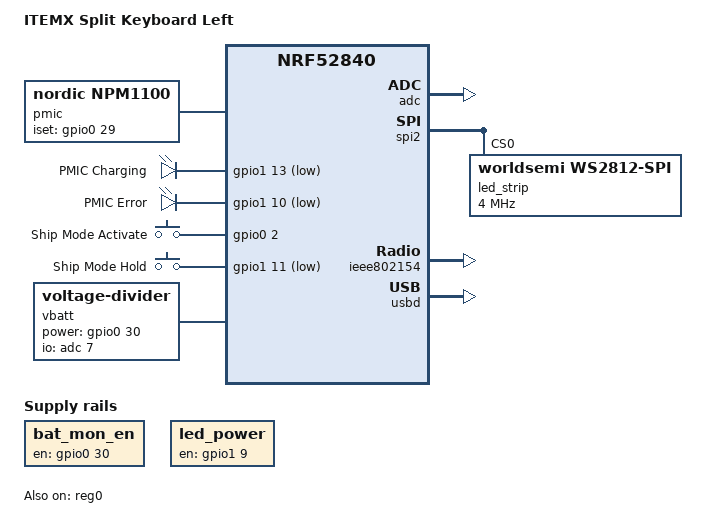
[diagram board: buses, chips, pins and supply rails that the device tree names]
/*
 * SPDX-License-Identifier: Apache-2.0
 *
 * ITEMX — Split ergonomic keyboard, left half (master)
 * MCU: nRF52840-QIAA
 * PMIC: nPM1100
 */

/dts-v1/;
#include <nordic/nrf52840_qiaa.dtsi>
#include <nordic/nrf52840_partition.dtsi>
#include "itemx_nrf52840-pinctrl.dtsi"
#include <zephyr/dt-bindings/regulator/npm1100.h>
#include <zephyr/dt-bindings/led/led.h>

/ {
	model = "ITEMX Split Keyboard Left";
	compatible = "itemx,nrf52840";

	chosen {
		zephyr,sram = &sram0;
		zephyr,flash = &flash0;
		zephyr,code-partition = &slot0_partition;
		zephyr,ieee802154 = &ieee802154;
	};

	/* ── nPM1100 PMIC ────────────────────────────────────── */
	pmic: pmic {
		compatible = "nordic,npm1100";

		/* ISET: P0.29 — USB current limit (low=100mA, high=500mA) */
		nordic,iset-gpios = <&gpio0 29 GPIO_ACTIVE_HIGH>;

		BUCK {
			regulator-initial-mode = <NPM1100_MODE_AUTO>;
			/* MODE: P1.15 — buck mode select (low=auto, high=PWM) */
			nordic,mode-gpios = <&gpio1 15 GPIO_ACTIVE_HIGH>;
		};
	};

	/* ── nPM1100 status inputs (active-low, open-drain) ─── */
	pmic_status {
		compatible = "gpio-leds";

		/* CHG: P1.13 — charge indicator (open-drain, needs pull-up) */
		pmic_chg: chg {
			gpios = <&gpio1 13 (GPIO_ACTIVE_LOW | GPIO_PULL_UP)>;
			label = "PMIC Charging";
		};

		/* ERR: P1.10 — error indicator (open-drain, needs pull-up) */
		pmic_err: err {
			gpios = <&gpio1 10 (GPIO_ACTIVE_LOW | GPIO_PULL_UP)>;
			label = "PMIC Error";
		};
	};

	/* ── Ship mode control ────────────────────────────────── */
	pmic_ship {
		compatible = "gpio-keys";

		/* SHPACT: P0.02 — ship mode activate (high ≥200ms to enter) */
		shpact: shpact {
			gpios = <&gpio0 2 GPIO_ACTIVE_HIGH>;
			label = "Ship Mode Activate";
		};

		/* SHPHLD: P1.11 — ship mode hold (low ≥200ms to exit) */
		shphld: shphld {
			gpios = <&gpio1 11 GPIO_ACTIVE_LOW>;
			label = "Ship Mode Hold";
		};
	};

	/* ── Battery monitoring ───────────────────────────────── */
	bat_mon_en: bat_mon_en {
		compatible = "regulator-fixed";
		regulator-name = "BAT_MON_EN";
		enable-gpios = <&gpio0 30 GPIO_ACTIVE_HIGH>;
	};

	vbatt: vbatt {
		compatible = "voltage-divider";
		io-channels = <&adc 7>;     /* AIN7 = P0.31 */
		output-ohms  = <220000>;    /* 220 kΩ — résistance basse (vers GND) */
		full-ohms    = <1730000>;   /* 220 kΩ + 1.51 MΩ = 1.73 MΩ total */
		power-gpios = <&gpio0 30 GPIO_ACTIVE_HIGH>;
	};

	/* ── SK6812 LED strip (4x RGB) ───────────────────────── */
	led_power: led_power {
		compatible = "regulator-fixed";
		regulator-name = "LED_POWER";
		enable-gpios = <&gpio1 9 GPIO_ACTIVE_HIGH>;
	};

	/* ── Keyboard matrix pins are defined by the ZMK shield ── */

	aliases {
		led-strip = &led_strip;
		sw0 = &shpact;
		watchdog0 = &wdt0;
	};
};

/* ── Enable internal DC/DC for efficiency ─────────────────── */
&reg0 {
	status = "okay";
};

&reg1 {
	regulator-initial-mode = <NRF5X_REG_MODE_DCDC>;
};

/* ── ADC for battery voltage ──────────────────────────────── */
&adc {
	status = "okay";
};

/* ── SPI2 dedicated to LED strip ──────────────────────────── */
&spi2 {
	compatible = "nordic,nrf-spim";
	status = "okay";
	pinctrl-0 = <&spi2_default>;
	pinctrl-1 = <&spi2_sleep>;
	pinctrl-names = "default", "sleep";

	led_strip: ws2812@0 {
		compatible = "worldsemi,ws2812-spi";
		reg = <0>;
		spi-max-frequency = <4000000>;
		chain-length = <4>;
		color-mapping = <LED_COLOR_ID_GREEN LED_COLOR_ID_RED LED_COLOR_ID_BLUE>;
		spi-one-frame = <0x70>;
		spi-zero-frame = <0x40>;
	};
};

/* ── GPIO ports ───────────────────────────────────────────── */
&gpiote {
	status = "okay";
};

&gpio0 {
	status = "okay";
};

&gpio1 {
	status = "okay";
};

/* ── Flash ────────────────────────────────────────────────── */
&flash0 {
	/*
	 * For more information, see:
	 * https://docs.zephyrproject.org/latest/services/storage/index.html
	 */
};

/* ── Bluetooth ────────────────────────────────────────────── */
&ieee802154 {
	status = "okay";
};

/* ── USB ──────────────────────────────────────────────────── */
zephyr_udc0: &usbd {
	compatible = "nordic,nrf-usbd";
	status = "okay";
};
